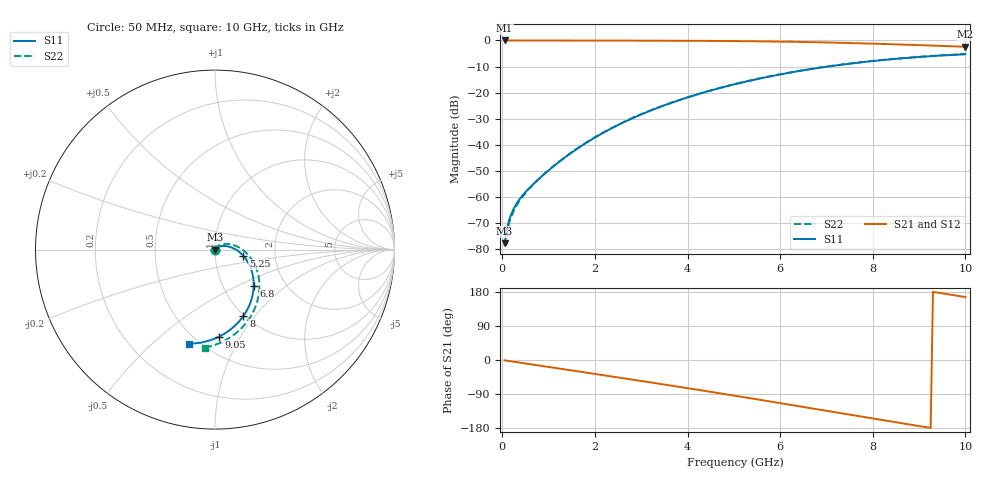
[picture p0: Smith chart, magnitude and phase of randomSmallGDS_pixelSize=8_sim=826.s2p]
! freq	dB(S11)	phase(S11)	dB(S12)	phase(S12)
!  dB(S21)	phase(S21)	dB(S22)	phase(S22)
!S-par simulation data
#  GHz  S  DB  R 50
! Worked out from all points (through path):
!   200 points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, 50 MHz to 10 GHz, reference 50 ohm
!   highest |S21| = 0.00 dB at 50 MHz (marker M1); lowest = -2.4 dB at 10 GHz (marker M2)
!   group delay of S21, straight-line fit = 54.2 ps
!   lowest |S11| = -77.9 dB at 50 MHz (marker M3), VSWR 1.00, Z = 50 + j0.0118 ohm
!   |S11| at or under -10 dB: start of sweep to 7.037 GHz
!   |S22| runs from -78.9 to -5.2 dB; largest |S21 - S12| = 0
!   S11 on the Smith chart (normalised r, x): 50 MHz: 1.00, +0.00; 5.25 GHz: 1.37, -0.10; 6.8 GHz: 1.39, -0.61; 8 GHz: 0.99, -0.88; 9.05 GHz: 0.64, -0.81; 10 GHz: 0.44, -0.66
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0.05  -77.89 68.3  -0.00 -0.9  -0.00 -0.9  -78.94 67.9
0.1  -72.25 74.9  -0.00 -1.9  -0.00 -1.9  -73.36 78.0
0.15  -68.81 75.7  -0.00 -2.8  -0.00 -2.8  -69.87 81.3
0.2  -66.36 75.1  -0.00 -3.7  -0.00 -3.7  -67.33 82.8
0.3  -62.87 72.8  -0.01 -5.5  -0.01 -5.5  -63.62 84.0
0.45  -59.21 69.5  -0.01 -8.3  -0.01 -8.3  -59.64 84.1
0.7  -54.60 65.6  -0.02 -12.9  -0.02 -12.9  -54.66 83.0
1  -49.87 61.9  -0.02 -18.4  -0.02 -18.4  -49.77 80.2
1.75  -40.00 51.2  -0.04 -32.1  -0.04 -32.1  -39.87 68.2
2.5  -32.45 38.6  -0.06 -46.0  -0.06 -46.0  -32.35 53.2
3.4  -25.55 22.5  -0.09 -62.9  -0.09 -62.9  -25.47 34.8
4.25  -20.49 6.7  -0.15 -79.1  -0.15 -79.1  -20.43 17.5
5.05  -16.67 -8.5  -0.24 -94.8  -0.24 -94.8  -16.61 1.4
5.25  -15.83 -12.4  -0.28 -98.8  -0.28 -98.8  -15.77 -2.7
5.95  -13.21 -26.1  -0.43 -112.8  -0.43 -112.8  -13.15 -16.9
6.7  -10.89 -41.0  -0.65 -128.0  -0.65 -128.0  -10.83 -32.1
6.8  -10.62 -43.0  -0.69 -130.0  -0.69 -130.0  -10.56 -34.1
7.4  -9.14 -54.9  -0.93 -142.2  -0.93 -142.2  -9.07 -46.2
8  -7.91 -66.8  -1.22 -154.3  -1.22 -154.3  -7.84 -58.1
8.35  -7.30 -73.7  -1.41 -161.4  -1.41 -161.4  -7.23 -64.9
9.05  -6.28 -87.3  -1.82 -175.3  -1.82 -175.3  -6.21 -78.3
10  -5.29 -105.4  -2.41 166.2  -2.41 166.2  -5.21 -95.8
